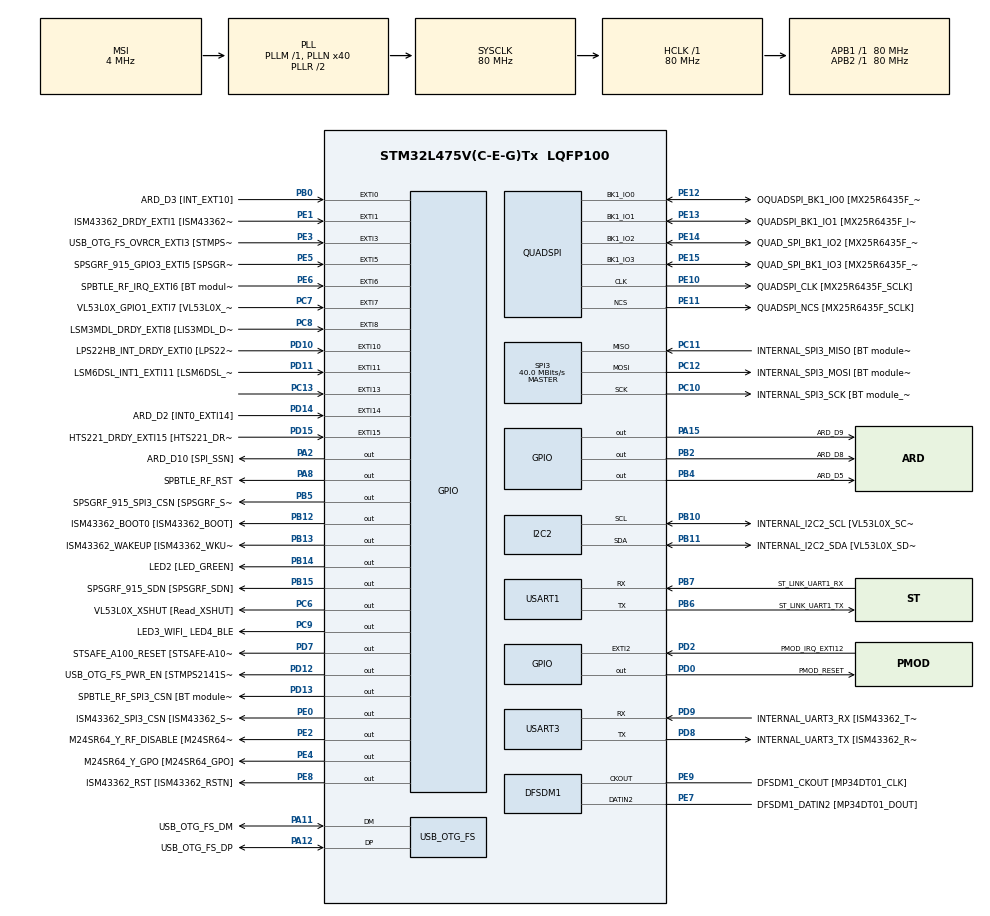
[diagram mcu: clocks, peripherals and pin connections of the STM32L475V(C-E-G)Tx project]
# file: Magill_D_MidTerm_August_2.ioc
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PD12.GPIO_Label=USB_OTG_FS_PWR_EN [STMPS2141STR_EN]
SPI3.Direction=SPI_DIRECTION_2LINES
SPI3.VirtualType=VM_MASTER
QUADSPI.ClockPrescaler=2
PB10.Mode=I2C
PC12.Signal=SPI3_MOSI
PB14.GPIO_Label=LED2 [LED_GREEN]
PC6.GPIO_Label=VL53L0X_XSHUT [Read_XSHUT]
PA6.GPIO_Label=ARD_D12 [SPI1_MISO]
PB6.GPIO_Label=ST_LINK_UART1_TX
PA15\ (JTDI).Signal=GPIO_Output
PC15-OSC32_OUT\ (PC15).Mode=LSE-External-Oscillator
PB13.Signal=GPIO_Output
PD6.GPIO_Label=PMOD_UART2_RX
PE6.GPIO_Label=SPBTLE_RF_IRQ_EXTI6 [BT module_SPI_IRQ]
RCC.SYSCLKSource=RCC_SYSCLKSOURCE_PLLCLK
PC14-OSC32_IN\ (PC14).Mode=LSE-External-Oscillator
SH.ADCx_IN16.0=ADC1_IN16
USART3.VirtualMode-Asynchronous=VM_ASYNC
PA14\ (JTCK-SWCLK).Signal=SYS_JTCK-SWCLK
PD4.Signal=USART2_RTS
RCC.APB2TimFreq_Value=80000000
PB6.Signal=USART1_TX
PC7.Signal=GPXTI7
PB6.Mode=Asynchronous
PC3.Signal=ADCx_IN4
PD0.Signal=GPIO_Output
PD8.Signal=USART3_TX
PE5.Signal=GPXTI5
PE1.Signal=GPXTI1
QUADSPI.FlashSize=23
NVIC.EXTI15_10_IRQn=true\:0\:0\:false\:false\:true\:true\:true
PB2.Signal=GPIO_Output
PD1.GPIO_Label=PMOD_SPI2_SCK
PB12.GPIO_Label=ISM43362_BOOT0 [ISM43362_BOOT]
PC4.GPIO_Label=ARD_A1 [ADC]
PE9.Signal=S_CKOUTDFSDM1
PB1.GPIO_Label=ARD_D6 [ADC1_IN6]
PE4.GPIO_Label=M24SR64_Y_GPO [M24SR64_GPO]
PE2.Signal=GPIO_Output
PA8.Signal=GPIO_Output
PE13.Mode=Single Bank
PE10.Signal=QUADSPI_CLK
PA0.Signal=UART4_TX
Mcu.Package=LQFP100
PB9.Signal=I2C1_SDA
PB1.Signal=ADCx_IN16
SPI3.Mode=SPI_MODE_MASTER
SH.ADCx_IN14.0=ADC1_IN14
PD12.Signal=GPIO_Output
PA10.Signal=USB_OTG_FS_ID
PE12.GPIO_Label=OQUADSPI_BK1_IO0 [MX25R6435F_IO0]
PC11.Mode=Full_Duplex_Master
SH.ADCx_IN9.0=ADC1_IN9
RCC.APB1TimFreq_Value=80000000
PA13\ (JTMS-SWDIO).Signal=SYS_JTMS-SWDIO
NVIC.USART1_IRQn=true\:0\:0\:false\:false\:true\:true\:true
PE10.GPIO_Label=QUADSPI_CLK [MX25R6435F_SCLK]
PA4.GPIO_Label=ARD_D7
PD15.Signal=GPXTI15
PE12.Mode=Single Bank
PD9.GPIO_Label=INTERNAL_UART3_RX [ISM43362_TX]
PA9.GPIO_Label=USB_OTG_FS_VBUS [STMPS2141STR_OUT]
PC13.Signal=GPXTI13
PD3.Signal=USART2_CTS
PC6.Signal=GPIO_Output
PE10.Mode=Single Bank
PC2.Signal=ADCx_IN3
PB11.GPIO_Label=INTERNAL_I2C2_SDA [VL53L0X_SDA]
PD7.Signal=GPIO_Output
PD1.Signal=SPI2_SCK
PA11.GPIO_Label=USB_OTG_FS_DM
PC0.Signal=ADCx_IN1
PD10.Signal=GPXTI10
PB8.GPIO_Label=ARD_D15 [I2C1_SCL]
PA8.GPIO_Label=SPBTLE_RF_RST
PB11.Mode=I2C
PE8.GPIO_Label=ISM43362_RST [ISM43362_RSTN]
PA9.Signal=USB_OTG_FS_VBUS
PE9.GPIO_Label=DFSDM1_CKOUT [MP34DT01_CLK]
PD8.Mode=Asynchronous
PB10.Signal=I2C2_SCL
PB14.Signal=GPIO_Output
PA5.Signal=SPI1_SCK
PC12.Mode=Full_Duplex_Master
PE1.GPIO_Label=ISM43362_DRDY_EXTI1 [ISM43362_DATARDY]
PE14.Signal=QUADSPI_BK1_IO2
PE15.Signal=QUADSPI_BK1_IO3
PB15.GPIO_Label=SPSGRF_915_SDN [SPSGRF_SDN]
PE8.Signal=GPIO_Output
PA1.GPIO_Label=ARD_D0 [UART4_RX]
SH.ADCx_IN4.0=ADC1_IN4
QUADSPI.FifoThreshold=4
PC7.GPIO_Label=VL53L0X_GPIO1_EXTI7 [VL53L0X_GPIO1]
PA13\ (JTMS-SWDIO).Mode=Serial_Wire
PA4.Signal=ADCx_IN9
PB5.Signal=GPIO_Output
PE13.GPIO_Label=QUADSPI_BK1_IO1 [MX25R6435F_IO1]
PA5.GPIO_Label=ARD_D13 [SPI1_SCK]
PD11.Signal=GPXTI11
PE5.GPIO_Label=SPSGRF_915_GPIO3_EXTI5 [SPSGRF_GPIO_3]
PC12.GPIO_Label=INTERNAL_SPI3_MOSI [BT module_SPI_MOSI] [ISM43362_MOSI]
PA11.Signal=USB_OTG_FS_DM
ProjectManager.HeapSize=0x200
NVIC.PriorityGroup=NVIC_PRIORITYGROUP_4
PE3.Signal=GPXTI3
PC3.GPIO_Label=ARD_A2 [ADC]
PB4\ (NJTRST).GPIO_Label=ARD_D5
PD2.Signal=GPXTI2
PB0.Signal=GPXTI0
PC1.Signal=ADCx_IN2
PD2.GPIO_Label=PMOD_IRQ_EXTI12
PE15.Mode=Single Bank
Mcu.Family=STM32L4
RCC.CortexFreq_Value=80000000
PE11.GPIO_Label=QUADSPI_NCS [MX25R6435F_SCLK]
SH.ADCx_IN2.0=ADC1_IN2
PC10.Signal=SPI3_SCK
PA0.GPIO_Label=ARD_D1 [UART4_TX]
PC0.GPIO_Label=ARD_A5 [ADC]
PD0.GPIO_Label=PMOD_RESET
PA11.Mode=Device_Only
PB0.GPIO_Label=ARD_D3 [INT_EXT10]
PB13.GPIO_Label=ISM43362_WAKEUP [ISM43362_WKUP]
PB11.Signal=I2C2_SDA
PB15.Signal=GPIO_Output
PD9.Mode=Asynchronous
ProjectManager.StackSize=0x400
PB3\ (JTDO-TRACESWO).Signal=SYS_JTDO-SWO
PD13.Signal=GPIO_Output
PA12.Signal=USB_OTG_FS_DP
PE11.Mode=Single Bank
PD11.GPIO_Label=LSM6DSL_INT1_EXTI11 [LSM6DSL_INT1]
RCC.HCLKFreq_Value=80000000
SH.ADCx_IN3.0=ADC1_IN3
PB5.PinState=GPIO_PIN_SET
RCC.AHBFreq_Value=80000000
RCC.HSE_VALUE=8000000
PE13.Signal=QUADSPI_BK1_IO1
PC11.GPIO_Label=INTERNAL_SPI3_MISO [BT module_SPI_MISO] [ISM43362_MISO]
PA10.GPIO_Label=USB_OTG_FS_ID
PB7.Signal=USART1_RX
PE4.Signal=GPIO_Output
QUADSPI.SampleShifting=QSPI_SAMPLE_SHIFTING_HALFCYCLE
PD7.GPIO_Label=STSAFE_A100_RESET [STSAFE-A100_RESET]
PB7.GPIO_Label=ST_LINK_UART1_RX
PD13.GPIO_Label=SPBTLE_RF_SPI3_CSN [BT module_SPI_CS]
PA6.Signal=SPI1_MISO
PD5.GPIO_Label=PMOD_UART2_TX
PA2.GPIO_Label=ARD_D10 [SPI_SSN]
USB_OTG_FS.VirtualMode=Device_Only
PE0.GPIO_Label=ISM43362_SPI3_CSN [ISM43362_SSN]
SH.ADCx_IN1.0=ADC1_IN1
PB5.GPIO_Label=SPSGRF_915_SPI3_CSN [SPSGRF_SPI_CS]
PC5.Signal=ADCx_IN14
PD3.GPIO_Label=PMOD_UART2_CTS
PE7.Signal=S_DATAIN2DFSDM1
PD6.Signal=USART2_RX
PE2.GPIO_Label=M24SR64_Y_RF_DISABLE [M24SR64_RFDIS]
PC2.GPIO_Label=ARD_A3 [ADC]
RCC.PLLSAI1N=24
PA3.Signal=S_TIM2_CH4
RCC.MSI_VALUE=4000000
PA14\ (JTCK-SWCLK).Mode=Serial_Wire
SH.ADCx_IN13.0=ADC1_IN13
PD15.GPIO_Label=HTS221_DRDY_EXTI15 [HTS221_DRDY]
PB9.GPIO_Label=ARD_D14 [I2C1_SDA]
PC10.GPIO_Label=INTERNAL_SPI3_SCK [BT module_SPI_SCLK] [ISM43362_SCK]
PC9.GPIO_Label=LED3_WIFI_ LED4_BLE
PC11.Signal=SPI3_MISO
PC8.Signal=GPXTI8
PC4.Signal=ADCx_IN13
PC10.Mode=Full_Duplex_Master
SH.S_DATAIN2DFSDM1.0=DFSDM1_DATIN2,PDM_SPI_Input_from_ch12_and_Internal_Clock
PE14.GPIO_Label=QUAD_SPI_BK1_IO2 [MX25R6435F_IO2]
PC15-OSC32_OUT\ (PC15).Signal=RCC_OSC32_OUT
PD9.Signal=USART3_RX
PD5.Signal=USART2_TX
PA14\ (JTCK-SWCLK).GPIO_Label=SYS_JTCK_SWCLK
PB3\ (JTDO-TRACESWO).GPIO_Label=SYS_JTD0_SWO
PA12.GPIO_Label=USB_OTG_FS_DP
PD8.GPIO_Label=INTERNAL_UART3_TX [ISM43362_RX]
PC8.GPIO_Label=LSM3MDL_DRDY_EXTI8 [LIS3MDL_DRDY]
USART1.VirtualMode-Asynchronous=VM_ASYNC
PE0.PinState=GPIO_PIN_SET
PE15.GPIO_Label=QUAD_SPI_BK1_IO3 [MX25R6435F_IO3]
ProjectManager.TargetToolchain=STM32CubeIDE
PB10.GPIO_Label=INTERNAL_I2C2_SCL [VL53L0X_SCL]
RCC.USBFreq_Value=48000000
PD10.GPIO_Label=LPS22HB_INT_DRDY_EXTI0 [LPS22HB_INT_DRDY] 
PE11.Signal=QUADSPI_NCS
PA1.Signal=UART4_RX
board=B-L475E-IOT01A1
RCC.VCOOutputFreq_Value=160000000
RCC.APB2Freq_Value=80000000
SPI3.CalculateBaudRate=40.0 MBits/s
PA13\ (JTMS-SWDIO).GPIO_Label=SYS_JTMS_SWDIO
PD4.GPIO_Label=PMOD_UART2_RTS
PE14.Mode=Single Bank
SH.S_CKOUTDFSDM1.0=DFSDM1_CKOUT,CKOUT
SH.S_CKOUTDFSDM1.1=DFSDM1_CKOUT,PDM_SPI_Input_from_ch12_and_Internal_Clock
RCC.ADCFreq_Value=48000000
PC1.GPIO_Label=ARD_A4 [ADC]
PD14.GPIO_Label=ARD_D2 [INT0_EXTI14]
PE6.Signal=GPXTI6
PA15\ (JTDI).GPIO_Label=ARD_D9
Mcu.Name=STM32L475V(C-E-G)Tx
PE0.Signal=GPIO_Output
PE7.GPIO_Label=DFSDM1_DATIN2 [MP34DT01_DOUT]
PE12.Signal=QUADSPI_BK1_IO0
PA2.Signal=GPIO_Output
PD14.Signal=GPXTI14
RCC.SYSCLKFreq_VALUE=80000000
PA7.GPIO_Label=ARD_D11 [SPI1_MOSI]
PA12.Mode=Device_Only
PC5.GPIO_Label=ARD_A0 [ADC]
PC14-OSC32_IN\ (PC14).Signal=RCC_OSC32_IN
PB7.Mode=Asynchronous
NVIC.EXTI9_5_IRQn=true\:0\:0\:false\:false\:true\:true\:true
PB2.GPIO_Label=ARD_D8
SH.S_TIM2_CH4.0=TIM2_CH4
RCC.HSI_VALUE=16000000
RCC.PLLN=40
PB8.Signal=I2C1_SCL
PE3.GPIO_Label=USB_OTG_FS_OVRCR_EXTI3 [STMPS2141STR_FAULT]
PC9.Signal=GPIO_Output
PD13.PinState=GPIO_PIN_SET
RCC.APB1Freq_Value=80000000
PB12.Signal=GPIO_Output
PA3.GPIO_Label=ARD_D4
PA7.Signal=SPI1_MOSI
PB4\ (NJTRST).Signal=GPIO_Output

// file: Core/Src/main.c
/* USER CODE BEGIN Header */
/**
  ******************************************************************************
  * @file           : main.c
  * @brief          : Main program body
  ******************************************************************************
  * @attention
  *
  * <h2><center>&copy; Copyright (c) 2021 STMicroelectronics.
  * All rights reserved.</center></h2>
  *
  * This software component is licensed by ST under BSD 3-Clause license,
  * the "License"; You may not use this file except in compliance with the
  * License. You may obtain a copy of the License at:
  *                        opensource.org/licenses/BSD-3-Clause
  *
  ******************************************************************************
  */
/* USER CODE END Header */
#include "main.h"

/* USER CODE BEGIN Includes */
#include <stdio.h>
#include <string.h>
/* USER CODE END Includes */

DFSDM_Channel_HandleTypeDef hdfsdm1_channel1;

I2C_HandleTypeDef hi2c2;

QSPI_HandleTypeDef hqspi;

SPI_HandleTypeDef hspi3;

UART_HandleTypeDef huart1;
UART_HandleTypeDef huart3;

PCD_HandleTypeDef hpcd_USB_OTG_FS;

/* USER CODE BEGIN PV */

/**
 * timeout used for uart delays.
 *
 * When switched from 1000ms to 10ms the out put looks okay if you press keys slowly
 * but if you press keys quickly the output becomes incorrect. I believe this happens
 * because the key presses are faster than the delay and we end up sending mulitple transmits
 * at the same time and the serial port recevier receives multiple inputs at the same time.
 */
uint16_t timeout = 10;
/* USER CODE END PV */

void SystemClock_Config(void);
static void MX_GPIO_Init(void);
static void MX_DFSDM1_Init(void);
static void MX_I2C2_Init(void);
static void MX_QUADSPI_Init(void);
static void MX_SPI3_Init(void);
static void MX_USART1_UART_Init(void);
static void MX_USART3_UART_Init(void);
static void MX_USB_OTG_FS_PCD_Init(void);
/* USER CODE BEGIN PFP */
static void printMenu();
static void logMsg(UART_HandleTypeDef *huart, char *out);
static void logGetMsg(UART_HandleTypeDef *huart);
static void noOp();
static void waitTransmit();
static void squareSum(uint8_t num);
static void numOnes(uint8_t num);
static void enableInterrupt(uint32_t IRQn);
static void disableInterrupt(uint32_t IRQn);
static void disableAllInterrupts();
extern int SquareSum(int in);
/* USER CODE END PFP */

/* USER CODE BEGIN 0 */

static uint8_t rx_buffer[1] = {0};
static uint8_t tx_complete = 0;
static uint8_t rx_wait_sum = 0;
static uint8_t rx_wait_ones = 0;

/* USER CODE END 0 */

int main(void)
{

  /* MCU Configuration--------------------------------------------------------*/

  /* Reset of all peripherals, Initializes the Flash interface and the Systick. */
  HAL_Init();

  /* Configure the system clock */
  SystemClock_Config();

  /* Initialize all configured peripherals */
  MX_GPIO_Init();
  MX_DFSDM1_Init();
  MX_I2C2_Init();
  MX_QUADSPI_Init();
  MX_SPI3_Init();
  MX_USART1_UART_Init();
  MX_USART3_UART_Init();
  MX_USB_OTG_FS_PCD_Init();
  /* USER CODE BEGIN 2 */

//  char m[100];
//  sprintf(m, "The sum of squares of: %d is %d \r\n", 3, 14);
//  logMsg(&huart1, m);

  printMenu();

  // we want green led to be off by default
  HAL_GPIO_WritePin(LED2_GPIO_Port, LED2_Pin, GPIO_PIN_RESET);

  HAL_UART_Receive_IT(&huart1, rx_buffer, 1);
  /* USER CODE END 2 */

  /* Infinite loop */
  while (1)
  {

  }
}

void SystemClock_Config(void)
{
  RCC_OscInitTypeDef RCC_OscInitStruct = {0};
  RCC_ClkInitTypeDef RCC_ClkInitStruct = {0};
  RCC_PeriphCLKInitTypeDef PeriphClkInit = {0};

  /** Configure LSE Drive Capability
  */
  HAL_PWR_EnableBkUpAccess();
  __HAL_RCC_LSEDRIVE_CONFIG(RCC_LSEDRIVE_LOW);
  /** Initializes the RCC Oscillators according to the specified parameters
  * in the RCC_OscInitTypeDef structure.
  */
  RCC_OscInitStruct.OscillatorType = RCC_OSCILLATORTYPE_LSE|RCC_OSCILLATORTYPE_MSI;
  RCC_OscInitStruct.LSEState = RCC_LSE_ON;
  RCC_OscInitStruct.MSIState = RCC_MSI_ON;
  RCC_OscInitStruct.MSICalibrationValue = 0;
  RCC_OscInitStruct.MSIClockRange = RCC_MSIRANGE_6;
  RCC_OscInitStruct.PLL.PLLState = RCC_PLL_ON;
  RCC_OscInitStruct.PLL.PLLSource = RCC_PLLSOURCE_MSI;
  RCC_OscInitStruct.PLL.PLLM = 1;
  RCC_OscInitStruct.PLL.PLLN = 40;
  RCC_OscInitStruct.PLL.PLLP = RCC_PLLP_DIV7;
  RCC_OscInitStruct.PLL.PLLQ = RCC_PLLQ_DIV2;
  RCC_OscInitStruct.PLL.PLLR = RCC_PLLR_DIV2;
  if (HAL_RCC_OscConfig(&RCC_OscInitStruct) != HAL_OK)
  {
    Error_Handler();
  }
  /** Initializes the CPU, AHB and APB buses clocks
  */
  RCC_ClkInitStruct.ClockType = RCC_CLOCKTYPE_HCLK|RCC_CLOCKTYPE_SYSCLK
                              |RCC_CLOCKTYPE_PCLK1|RCC_CLOCKTYPE_PCLK2;
  RCC_ClkInitStruct.SYSCLKSource = RCC_SYSCLKSOURCE_PLLCLK;
  RCC_ClkInitStruct.AHBCLKDivider = RCC_SYSCLK_DIV1;
  RCC_ClkInitStruct.APB1CLKDivider = RCC_HCLK_DIV1;
  RCC_ClkInitStruct.APB2CLKDivider = RCC_HCLK_DIV1;

  if (HAL_RCC_ClockConfig(&RCC_ClkInitStruct, FLASH_LATENCY_4) != HAL_OK)
  {
    Error_Handler();
  }
  PeriphClkInit.PeriphClockSelection = RCC_PERIPHCLK_USART1|RCC_PERIPHCLK_USART3
                              |RCC_PERIPHCLK_I2C2|RCC_PERIPHCLK_DFSDM1
                              |RCC_PERIPHCLK_USB;
  PeriphClkInit.Usart1ClockSelection = RCC_USART1CLKSOURCE_PCLK2;
  PeriphClkInit.Usart3ClockSelection = RCC_USART3CLKSOURCE_PCLK1;
  PeriphClkInit.I2c2ClockSelection = RCC_I2C2CLKSOURCE_PCLK1;
  PeriphClkInit.Dfsdm1ClockSelection = RCC_DFSDM1CLKSOURCE_PCLK;
  PeriphClkInit.UsbClockSelection = RCC_USBCLKSOURCE_PLLSAI1;
  PeriphClkInit.PLLSAI1.PLLSAI1Source = RCC_PLLSOURCE_MSI;
  PeriphClkInit.PLLSAI1.PLLSAI1M = 1;
  PeriphClkInit.PLLSAI1.PLLSAI1N = 24;
  PeriphClkInit.PLLSAI1.PLLSAI1P = RCC_PLLP_DIV7;
  PeriphClkInit.PLLSAI1.PLLSAI1Q = RCC_PLLQ_DIV2;
  PeriphClkInit.PLLSAI1.PLLSAI1R = RCC_PLLR_DIV2;
  PeriphClkInit.PLLSAI1.PLLSAI1ClockOut = RCC_PLLSAI1_48M2CLK;
  if (HAL_RCCEx_PeriphCLKConfig(&PeriphClkInit) != HAL_OK)
  {
    Error_Handler();
  }
  /** Configure the main internal regulator output voltage
  */
  if (HAL_PWREx_ControlVoltageScaling(PWR_REGULATOR_VOLTAGE_SCALE1) != HAL_OK)
  {
    Error_Handler();
  }
  /** Enable MSI Auto calibration
  */
  HAL_RCCEx_EnableMSIPLLMode();
}

static void MX_DFSDM1_Init(void)
{

  hdfsdm1_channel1.Instance = DFSDM1_Channel1;
  hdfsdm1_channel1.Init.OutputClock.Activation = ENABLE;
  hdfsdm1_channel1.Init.OutputClock.Selection = DFSDM_CHANNEL_OUTPUT_CLOCK_SYSTEM;
  hdfsdm1_channel1.Init.OutputClock.Divider = 2;
  hdfsdm1_channel1.Init.Input.Multiplexer = DFSDM_CHANNEL_EXTERNAL_INPUTS;
  hdfsdm1_channel1.Init.Input.DataPacking = DFSDM_CHANNEL_STANDARD_MODE;
  hdfsdm1_channel1.Init.Input.Pins = DFSDM_CHANNEL_FOLLOWING_CHANNEL_PINS;
  hdfsdm1_channel1.Init.SerialInterface.Type = DFSDM_CHANNEL_SPI_RISING;
  hdfsdm1_channel1.Init.SerialInterface.SpiClock = DFSDM_CHANNEL_SPI_CLOCK_INTERNAL;
  hdfsdm1_channel1.Init.Awd.FilterOrder = DFSDM_CHANNEL_FASTSINC_ORDER;
  hdfsdm1_channel1.Init.Awd.Oversampling = 1;
  hdfsdm1_channel1.Init.Offset = 0;
  hdfsdm1_channel1.Init.RightBitShift = 0x00;
  if (HAL_DFSDM_ChannelInit(&hdfsdm1_channel1) != HAL_OK)
  {
    Error_Handler();
  }

}

static void MX_I2C2_Init(void)
{

  hi2c2.Instance = I2C2;
  hi2c2.Init.Timing = 0x00000E14;
  hi2c2.Init.OwnAddress1 = 0;
  hi2c2.Init.AddressingMode = I2C_ADDRESSINGMODE_7BIT;
  hi2c2.Init.DualAddressMode = I2C_DUALADDRESS_DISABLE;
  hi2c2.Init.OwnAddress2 = 0;
  hi2c2.Init.OwnAddress2Masks = I2C_OA2_NOMASK;
  hi2c2.Init.GeneralCallMode = I2C_GENERALCALL_DISABLE;
  hi2c2.Init.NoStretchMode = I2C_NOSTRETCH_DISABLE;
  if (HAL_I2C_Init(&hi2c2) != HAL_OK)
  {
    Error_Handler();
  }
  /** Configure Analogue filter
  */
  if (HAL_I2CEx_ConfigAnalogFilter(&hi2c2, I2C_ANALOGFILTER_ENABLE) != HAL_OK)
  {
    Error_Handler();
  }
  /** Configure Digital filter
  */
  if (HAL_I2CEx_ConfigDigitalFilter(&hi2c2, 0) != HAL_OK)
  {
    Error_Handler();
  }

}

static void MX_QUADSPI_Init(void)
{

  /* QUADSPI parameter configuration*/
  hqspi.Instance = QUADSPI;
  hqspi.Init.ClockPrescaler = 2;
  hqspi.Init.FifoThreshold = 4;
  hqspi.Init.SampleShifting = QSPI_SAMPLE_SHIFTING_HALFCYCLE;
  hqspi.Init.FlashSize = 23;
  hqspi.Init.ChipSelectHighTime = QSPI_CS_HIGH_TIME_1_CYCLE;
  hqspi.Init.ClockMode = QSPI_CLOCK_MODE_0;
  if (HAL_QSPI_Init(&hqspi) != HAL_OK)
  {
    Error_Handler();
  }

}

static void MX_SPI3_Init(void)
{

  /* SPI3 parameter configuration*/
  hspi3.Instance = SPI3;
  hspi3.Init.Mode = SPI_MODE_MASTER;
  hspi3.Init.Direction = SPI_DIRECTION_2LINES;
  hspi3.Init.DataSize = SPI_DATASIZE_4BIT;
  hspi3.Init.CLKPolarity = SPI_POLARITY_LOW;
  hspi3.Init.CLKPhase = SPI_PHASE_1EDGE;
  hspi3.Init.NSS = SPI_NSS_SOFT;
  hspi3.Init.BaudRatePrescaler = SPI_BAUDRATEPRESCALER_2;
  hspi3.Init.FirstBit = SPI_FIRSTBIT_MSB;
  hspi3.Init.TIMode = SPI_TIMODE_DISABLE;
  hspi3.Init.CRCCalculation = SPI_CRCCALCULATION_DISABLE;
  hspi3.Init.CRCPolynomial = 7;
  hspi3.Init.CRCLength = SPI_CRC_LENGTH_DATASIZE;
  hspi3.Init.NSSPMode = SPI_NSS_PULSE_ENABLE;
  if (HAL_SPI_Init(&hspi3) != HAL_OK)
  {
    Error_Handler();
  }

}

static void MX_USART1_UART_Init(void)
{

  huart1.Instance = USART1;
  huart1.Init.BaudRate = 115200;
  huart1.Init.WordLength = UART_WORDLENGTH_8B;
  huart1.Init.StopBits = UART_STOPBITS_1;
  huart1.Init.Parity = UART_PARITY_NONE;
  huart1.Init.Mode = UART_MODE_TX_RX;
  huart1.Init.HwFlowCtl = UART_HWCONTROL_NONE;
  huart1.Init.OverSampling = UART_OVERSAMPLING_16;
  huart1.Init.OneBitSampling = UART_ONE_BIT_SAMPLE_DISABLE;
  huart1.AdvancedInit.AdvFeatureInit = UART_ADVFEATURE_NO_INIT;
  if (HAL_UART_Init(&huart1) != HAL_OK)
  {
    Error_Handler();
  }

}

static void MX_USART3_UART_Init(void)
{

  huart3.Instance = USART3;
  huart3.Init.BaudRate = 115200;
  huart3.Init.WordLength = UART_WORDLENGTH_8B;
  huart3.Init.StopBits = UART_STOPBITS_1;
  huart3.Init.Parity = UART_PARITY_NONE;
  huart3.Init.Mode = UART_MODE_TX_RX;
  huart3.Init.HwFlowCtl = UART_HWCONTROL_NONE;
  huart3.Init.OverSampling = UART_OVERSAMPLING_16;
  huart3.Init.OneBitSampling = UART_ONE_BIT_SAMPLE_DISABLE;
  huart3.AdvancedInit.AdvFeatureInit = UART_ADVFEATURE_NO_INIT;
  if (HAL_UART_Init(&huart3) != HAL_OK)
  {
    Error_Handler();
  }

}

static void MX_USB_OTG_FS_PCD_Init(void)
{

  hpcd_USB_OTG_FS.Instance = USB_OTG_FS;
  hpcd_USB_OTG_FS.Init.dev_endpoints = 6;
  hpcd_USB_OTG_FS.Init.speed = PCD_SPEED_FULL;
  hpcd_USB_OTG_FS.Init.phy_itface = PCD_PHY_EMBEDDED;
  hpcd_USB_OTG_FS.Init.Sof_enable = DISABLE;
  hpcd_USB_OTG_FS.Init.low_power_enable = DISABLE;
  hpcd_USB_OTG_FS.Init.lpm_enable = DISABLE;
  hpcd_USB_OTG_FS.Init.battery_charging_enable = DISABLE;
  hpcd_USB_OTG_FS.Init.use_dedicated_ep1 = DISABLE;
  hpcd_USB_OTG_FS.Init.vbus_sensing_enable = DISABLE;
  if (HAL_PCD_Init(&hpcd_USB_OTG_FS) != HAL_OK)
  {
    Error_Handler();
  }

}

static void MX_GPIO_Init(void)
{
  GPIO_InitTypeDef GPIO_InitStruct = {0};

  /* GPIO Ports Clock Enable */
  __HAL_RCC_GPIOE_CLK_ENABLE();
  __HAL_RCC_GPIOC_CLK_ENABLE();
  __HAL_RCC_GPIOA_CLK_ENABLE();
  __HAL_RCC_GPIOB_CLK_ENABLE();
  __HAL_RCC_GPIOD_CLK_ENABLE();

  /*Configure GPIO pin Output Level */
  HAL_GPIO_WritePin(GPIOE, M24SR64_Y_RF_DISABLE_Pin|M24SR64_Y_GPO_Pin|ISM43362_RST_Pin, GPIO_PIN_RESET);

  /*Configure GPIO pin Output Level */
  HAL_GPIO_WritePin(GPIOA, ARD_D10_Pin|SPBTLE_RF_RST_Pin|ARD_D9_Pin, GPIO_PIN_RESET);

  /*Configure GPIO pin Output Level */
  HAL_GPIO_WritePin(GPIOB, ARD_D8_Pin|ISM43362_BOOT0_Pin|ISM43362_WAKEUP_Pin|LED2_Pin
                          |SPSGRF_915_SDN_Pin|ARD_D5_Pin, GPIO_PIN_RESET);

  /*Configure GPIO pin Output Level */
  HAL_GPIO_WritePin(GPIOD, USB_OTG_FS_PWR_EN_Pin|PMOD_RESET_Pin|STSAFE_A100_RESET_Pin, GPIO_PIN_RESET);

  /*Configure GPIO pin Output Level */
  HAL_GPIO_WritePin(SPBTLE_RF_SPI3_CSN_GPIO_Port, SPBTLE_RF_SPI3_CSN_Pin, GPIO_PIN_SET);

  /*Configure GPIO pin Output Level */
  HAL_GPIO_WritePin(GPIOC, VL53L0X_XSHUT_Pin|LED3_WIFI__LED4_BLE_Pin, GPIO_PIN_RESET);

  /*Configure GPIO pin Output Level */
  HAL_GPIO_WritePin(SPSGRF_915_SPI3_CSN_GPIO_Port, SPSGRF_915_SPI3_CSN_Pin, GPIO_PIN_SET);

  /*Configure GPIO pin Output Level */
  HAL_GPIO_WritePin(ISM43362_SPI3_CSN_GPIO_Port, ISM43362_SPI3_CSN_Pin, GPIO_PIN_SET);

  /*Configure GPIO pins : M24SR64_Y_RF_DISABLE_Pin M24SR64_Y_GPO_Pin ISM43362_RST_Pin ISM43362_SPI3_CSN_Pin */
  GPIO_InitStruct.Pin = M24SR64_Y_RF_DISABLE_Pin|M24SR64_Y_GPO_Pin|ISM43362_RST_Pin|ISM43362_SPI3_CSN_Pin;
  GPIO_InitStruct.Mode = GPIO_MODE_OUTPUT_PP;
  GPIO_InitStruct.Pull = GPIO_NOPULL;
  GPIO_InitStruct.Speed = GPIO_SPEED_FREQ_LOW;
  HAL_GPIO_Init(GPIOE, &GPIO_InitStruct);

  /*Configure GPIO pins : USB_OTG_FS_OVRCR_EXTI3_Pin SPSGRF_915_GPIO3_EXTI5_Pin SPBTLE_RF_IRQ_EXTI6_Pin ISM43362_DRDY_EXTI1_Pin */
  GPIO_InitStruct.Pin = USB_OTG_FS_OVRCR_EXTI3_Pin|SPSGRF_915_GPIO3_EXTI5_Pin|SPBTLE_RF_IRQ_EXTI6_Pin|ISM43362_DRDY_EXTI1_Pin;
  GPIO_InitStruct.Mode = GPIO_MODE_IT_RISING;
  GPIO_InitStruct.Pull = GPIO_NOPULL;
  HAL_GPIO_Init(GPIOE, &GPIO_InitStruct);

  /*Configure GPIO pins : PC13 VL53L0X_GPIO1_EXTI7_Pin LSM3MDL_DRDY_EXTI8_Pin */
  GPIO_InitStruct.Pin = GPIO_PIN_13|VL53L0X_GPIO1_EXTI7_Pin|LSM3MDL_DRDY_EXTI8_Pin;
  GPIO_InitStruct.Mode = GPIO_MODE_IT_RISING;
  GPIO_InitStruct.Pull = GPIO_NOPULL;
  HAL_GPIO_Init(GPIOC, &GPIO_InitStruct);

  /*Configure GPIO pins : ARD_A5_Pin ARD_A4_Pin ARD_A3_Pin ARD_A2_Pin
                           ARD_A1_Pin ARD_A0_Pin */
  GPIO_InitStruct.Pin = ARD_A5_Pin|ARD_A4_Pin|ARD_A3_Pin|ARD_A2_Pin
                          |ARD_A1_Pin|ARD_A0_Pin;
  GPIO_InitStruct.Mode = GPIO_MODE_ANALOG_ADC_CONTROL;
  GPIO_InitStruct.Pull = GPIO_NOPULL;
  HAL_GPIO_Init(GPIOC, &GPIO_InitStruct);

  /*Configure GPIO pins : ARD_D1_Pin ARD_D0_Pin */
  GPIO_InitStruct.Pin = ARD_D1_Pin|ARD_D0_Pin;
  GPIO_InitStruct.Mode = GPIO_MODE_AF_PP;
  GPIO_InitStruct.Pull = GPIO_NOPULL;
  GPIO_InitStruct.Speed = GPIO_SPEED_FREQ_VERY_HIGH;
  GPIO_InitStruct.Alternate = GPIO_AF8_UART4;
  HAL_GPIO_Init(GPIOA, &GPIO_InitStruct);

  /*Configure GPIO pins : ARD_D10_Pin SPBTLE_RF_RST_Pin ARD_D9_Pin */
  GPIO_InitStruct.Pin = ARD_D10_Pin|SPBTLE_RF_RST_Pin|ARD_D9_Pin;
  GPIO_InitStruct.Mode = GPIO_MODE_OUTPUT_PP;
  GPIO_InitStruct.Pull = GPIO_NOPULL;
  GPIO_InitStruct.Speed = GPIO_SPEED_FREQ_LOW;
  HAL_GPIO_Init(GPIOA, &GPIO_InitStruct);

  /*Configure GPIO pin : ARD_D4_Pin */
  GPIO_InitStruct.Pin = ARD_D4_Pin;
  GPIO_InitStruct.Mode = GPIO_MODE_AF_PP;
  GPIO_InitStruct.Pull = GPIO_NOPULL;
  GPIO_InitStruct.Speed = GPIO_SPEED_FREQ_LOW;
  GPIO_InitStruct.Alternate = GPIO_AF1_TIM2;
  HAL_GPIO_Init(ARD_D4_GPIO_Port, &GPIO_InitStruct);

  /*Configure GPIO pin : ARD_D7_Pin */
  GPIO_InitStruct.Pin = ARD_D7_Pin;
  GPIO_InitStruct.Mode = GPIO_MODE_ANALOG_ADC_CONTROL;
  GPIO_InitStruct.Pull = GPIO_NOPULL;
  HAL_GPIO_Init(ARD_D7_GPIO_Port, &GPIO_InitStruct);

  /*Configure GPIO pins : ARD_D13_Pin ARD_D12_Pin ARD_D11_Pin */
  GPIO_InitStruct.Pin = ARD_D13_Pin|ARD_D12_Pin|ARD_D11_Pin;
  GPIO_InitStruct.Mode = GPIO_MODE_AF_PP;
  GPIO_InitStruct.Pull = GPIO_NOPULL;
  GPIO_InitStruct.Speed = GPIO_SPEED_FREQ_VERY_HIGH;
  GPIO_InitStruct.Alternate = GPIO_AF5_SPI1;
  HAL_GPIO_Init(GPIOA, &GPIO_InitStruct);

  /*Configure GPIO pin : ARD_D3_Pin */
  GPIO_InitStruct.Pin = ARD_D3_Pin;
  GPIO_InitStruct.Mode = GPIO_MODE_IT_RISING;
  GPIO_InitStruct.Pull = GPIO_NOPULL;
  HAL_GPIO_Init(ARD_D3_GPIO_Port, &GPIO_InitStruct);

  /*Configure GPIO pin : ARD_D6_Pin */
  GPIO_InitStruct.Pin = ARD_D6_Pin;
  GPIO_InitStruct.Mode = GPIO_MODE_ANALOG_ADC_CONTROL;
  GPIO_InitStruct.Pull = GPIO_NOPULL;
  HAL_GPIO_Init(ARD_D6_GPIO_Port, &GPIO_InitStruct);

  /*Configure GPIO pins : ARD_D8_Pin ISM43362_BOOT0_Pin ISM43362_WAKEUP_Pin LED2_Pin
                           SPSGRF_915_SDN_Pin ARD_D5_Pin SPSGRF_915_SPI3_CSN_Pin */
  GPIO_InitStruct.Pin = ARD_D8_Pin|ISM43362_BOOT0_Pin|ISM43362_WAKEUP_Pin|LED2_Pin
                          |SPSGRF_915_SDN_Pin|ARD_D5_Pin|SPSGRF_915_SPI3_CSN_Pin;
  GPIO_InitStruct.Mode = GPIO_MODE_OUTPUT_PP;
  GPIO_InitStruct.Pull = GPIO_NOPULL;
  GPIO_InitStruct.Speed = GPIO_SPEED_FREQ_LOW;
  HAL_GPIO_Init(GPIOB, &GPIO_InitStruct);

  /*Configure GPIO pins : LPS22HB_INT_DRDY_EXTI0_Pin LSM6DSL_INT1_EXTI11_Pin ARD_D2_Pin HTS221_DRDY_EXTI15_Pin
                           PMOD_IRQ_EXTI12_Pin */
  GPIO_InitStruct.Pin = LPS22HB_INT_DRDY_EXTI0_Pin|LSM6DSL_INT1_EXTI11_Pin|ARD_D2_Pin|HTS221_DRDY_EXTI15_Pin
                          |PMOD_IRQ_EXTI12_Pin;
  GPIO_InitStruct.Mode = GPIO_MODE_IT_RISING;
  GPIO_InitStruct.Pull = GPIO_NOPULL;
  HAL_GPIO_Init(GPIOD, &GPIO_InitStruct);

  /*Configure GPIO pins : USB_OTG_FS_PWR_EN_Pin SPBTLE_RF_SPI3_CSN_Pin PMOD_RESET_Pin STSAFE_A100_RESET_Pin */
  GPIO_InitStruct.Pin = USB_OTG_FS_PWR_EN_Pin|SPBTLE_RF_SPI3_CSN_Pin|PMOD_RESET_Pin|STSAFE_A100_RESET_Pin;
  GPIO_InitStruct.Mode = GPIO_MODE_OUTPUT_PP;
  GPIO_InitStruct.Pull = GPIO_NOPULL;
  GPIO_InitStruct.Speed = GPIO_SPEED_FREQ_LOW;
  HAL_GPIO_Init(GPIOD, &GPIO_InitStruct);

  /*Configure GPIO pins : VL53L0X_XSHUT_Pin LED3_WIFI__LED4_BLE_Pin */
  GPIO_InitStruct.Pin = VL53L0X_XSHUT_Pin|LED3_WIFI__LED4_BLE_Pin;
  GPIO_InitStruct.Mode = GPIO_MODE_OUTPUT_PP;
  GPIO_InitStruct.Pull = GPIO_NOPULL;
  GPIO_InitStruct.Speed = GPIO_SPEED_FREQ_LOW;
  HAL_GPIO_Init(GPIOC, &GPIO_InitStruct);

  /*Configure GPIO pin : PMOD_SPI2_SCK_Pin */
  GPIO_InitStruct.Pin = PMOD_SPI2_SCK_Pin;
  GPIO_InitStruct.Mode = GPIO_MODE_AF_PP;
  GPIO_InitStruct.Pull = GPIO_NOPULL;
  GPIO_InitStruct.Speed = GPIO_SPEED_FREQ_VERY_HIGH;
  GPIO_InitStruct.Alternate = GPIO_AF5_SPI2;
  HAL_GPIO_Init(PMOD_SPI2_SCK_GPIO_Port, &GPIO_InitStruct);

  /*Configure GPIO pins : PMOD_UART2_CTS_Pin PMOD_UART2_RTS_Pin PMOD_UART2_TX_Pin PMOD_UART2_RX_Pin */
  GPIO_InitStruct.Pin = PMOD_UART2_CTS_Pin|PMOD_UART2_RTS_Pin|PMOD_UART2_TX_Pin|PMOD_UART2_RX_Pin;
  GPIO_InitStruct.Mode = GPIO_MODE_AF_PP;
  GPIO_InitStruct.Pull = GPIO_NOPULL;
  GPIO_InitStruct.Speed = GPIO_SPEED_FREQ_VERY_HIGH;
  GPIO_InitStruct.Alternate = GPIO_AF7_USART2;
  HAL_GPIO_Init(GPIOD, &GPIO_InitStruct);

  /*Configure GPIO pins : ARD_D15_Pin ARD_D14_Pin */
  GPIO_InitStruct.Pin = ARD_D15_Pin|ARD_D14_Pin;
  GPIO_InitStruct.Mode = GPIO_MODE_AF_OD;
  GPIO_InitStruct.Pull = GPIO_PULLUP;
  GPIO_InitStruct.Speed = GPIO_SPEED_FREQ_VERY_HIGH;
  GPIO_InitStruct.Alternate = GPIO_AF4_I2C1;
  HAL_GPIO_Init(GPIOB, &GPIO_InitStruct);

  /* EXTI interrupt init*/
  HAL_NVIC_SetPriority(EXTI9_5_IRQn, 0, 0);
  HAL_NVIC_EnableIRQ(EXTI9_5_IRQn);

  HAL_NVIC_SetPriority(EXTI15_10_IRQn, 0, 0);
  HAL_NVIC_EnableIRQ(EXTI15_10_IRQn);

}

/* USER CODE BEGIN 4 */
/**
 * no operation function
 */
void noOp() {

}

static void waitTransmit() {
	while (!tx_complete);
}

static void printMenu() {

	logMsg(&huart1, "Welcome to Embedded Controller Programming\r\n");

	waitTransmit();
	logMsg(&huart1, "Enter g for toggling Green LED\r\n");

	waitTransmit();
	logMsg(&huart1, "Enter b for toggling Blue LED\r\n");

	waitTransmit();
	logMsg(&huart1, "Enter v to find the sum of squares of a number\r\n");

	waitTransmit();
	logMsg(&huart1, "Enter n to find numbers of 1's of a number\r\n");

	waitTransmit();
	logMsg(&huart1, "Enter d to disable an interrupt\r\n");

	waitTransmit();
	logMsg(&huart1, "Enter e to enable an interrupt\r\n");

	waitTransmit();
	logMsg(&huart1, "Enter a to disable all interrupts\r\n");
}

/**
 * Log a message via UART peripheral
 */
static void logMsg(UART_HandleTypeDef *huart, char *out) {
	tx_complete = 0;
	HAL_UART_Transmit_IT(huart, (uint8_t *) out, strlen(out));
}

/**
 * Get a message via UART peripheral
 */
void logGetMsg(UART_HandleTypeDef *huart) {
	HAL_UART_Receive_IT(huart, rx_buffer, sizeof(rx_buffer));
}

/**
  * @brief  EXTI line detection callback.
  * @param  GPIO_Pin Specifies the port pin connected to corresponding EXTI line.
  * @retval None
  */
void HAL_GPIO_EXTI_Callback(uint16_t GPIO_Pin)
{
  /* Prevent unused argument(s) compilation warning */
  UNUSED(GPIO_Pin);

  if (GPIO_Pin == GPIO_PIN_13) {
	  logMsg(&huart1, "Blue Button Pressed\r\n");
  }

}

void HAL_UART_RxCpltCallback(UART_HandleTypeDef *huart) {

	if (rx_wait_sum) {
		uint8_t rx_num = rx_buffer[0] - '0';

		rx_wait_sum = 0;
		squareSum(rx_num);

	} else if (rx_wait_ones) {
		uint8_t rx_num = rx_buffer[0] - '0';

		rx_wait_ones = 0;
		numOnes(rx_num);

	} else if (rx_wait_ones) {

		numOnes(rx_buffer[0] - '0');

	} else if (rx_buffer[0] == 'g') {

		logMsg(&huart1, "Received char: g\r\n");
		HAL_GPIO_TogglePin(LED2_GPIO_Port, LED2_Pin);

	} else if (rx_buffer[0] == 'b') {

		logMsg(&huart1, "Received char: b\r\n");
		HAL_GPIO_TogglePin(LED3_WIFI__LED4_BLE_GPIO_Port, LED3_WIFI__LED4_BLE_Pin);

	} else if (rx_buffer[0] == 'v') {

		rx_wait_sum = 1;
		logMsg(&huart1, "Enter number for square sum: \r\n");

	} else if (rx_buffer[0] == 'n') {

		rx_wait_ones = 1;
		logMsg(&huart1, "Enter number for ones: \r\n");

	} else if(rx_buffer[0] == 'd') {

		logMsg(&huart1, "Disabling Interrupt: \r\n");
		disableInterrupt(40);

	} else if (rx_buffer[0] == 'e') {

		logMsg(&huart1, "Enabling Interrupt: \r\n");
		enableInterrupt(40);

	} else if (rx_buffer[0] == 'a') {

		logMsg(&huart1, "Received char: a. All interrupts disabled \r\n");
		disableAllInterrupts();

	} else {
		logMsg(&huart1, "Unknown Character \r\n");
	}

	logGetMsg(huart);
}

void HAL_UART_TxCpltCallback(UART_HandleTypeDef *huart) {
	tx_complete = 1;
}

void squareSum(uint8_t num) {
	char sum_msg_buffer[100] = {0};
	int sum = SquareSum(num);

	sprintf(sum_msg_buffer, "Sum of:%d is %d\r\n", num, sum);
	logMsg(&huart1, sum_msg_buffer);
}

void numOnes(uint8_t num) {
	int ones = 0;
	char ones_msg_buffer[100];

//	for (int i = 0; i <= num; i++) {
//		if ((num >> i) & 1) {
//			ones += 1;
//		}
//	}

	asm (
		 "MOV r0, %0 \n\t"
		 "MOV r1, r0, LSR #31 \n\t"
		 "loop: \n\t"
		 "MOVS r0, r0, LSL #2 \n\t"
		 "ADC r1, r1, r0, LSR  #31 \n\t"
		 "BNE loop \n\t"
		 :"=r"(ones)
		 :"r"(num)
	);

	sprintf(ones_msg_buffer, "Num ones of: %d is %d\r\n", num, ones);
	logMsg(&huart1, ones_msg_buffer);

}

void enableInterrupt(uint32_t IRQn) {
	HAL_NVIC_EnableIRQ(IRQn);
}

void disableInterrupt(uint32_t IRQn) {
	HAL_NVIC_DisableIRQ(IRQn);
}

void disableAllInterrupts() {
	waitTransmit();
	__disable_irq();
}

/* USER CODE END 4 */

void Error_Handler(void)
{
  __disable_irq();
  while (1)
  {
  }
}

/************************ (C) COPYRIGHT STMicroelectronics *****END OF FILE****/
